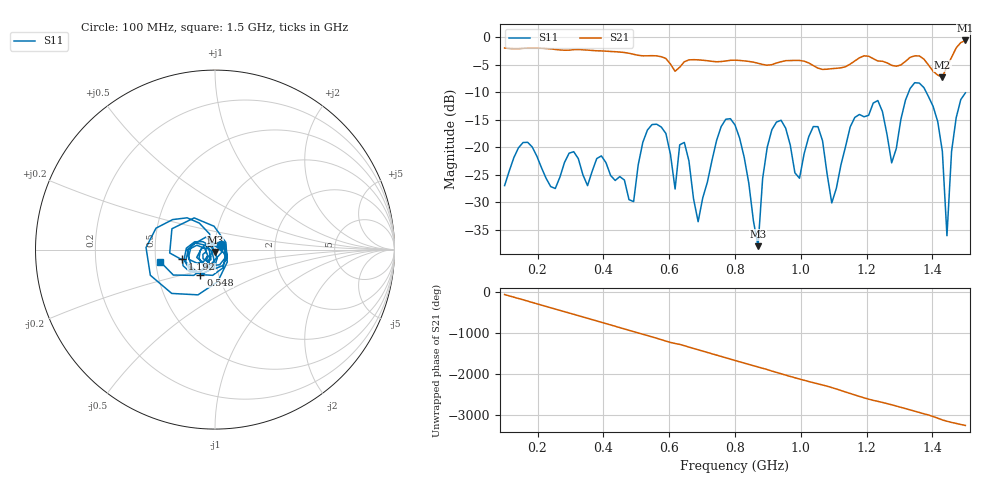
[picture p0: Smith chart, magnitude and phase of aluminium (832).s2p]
! NanoVNA-App
! Date: 2025-09-25 15:01:45
! Start: 100MHz Stop: 1,5GHz Points: 101
! S-Parameter data: F S11 S21 S12 S22
# Hz S RI R 50
!  Frequency  S11_Real  S11_Imag  S21_Real  S21_Imag  S12_Real  S12_Imag  S22_Real  S22_Imag
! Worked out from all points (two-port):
!   101 points, 100 MHz to 1.5 GHz, reference 50 ohm
!   highest |S21| = -0.54 dB at 1.5 GHz (marker M1); lowest = -7.3 dB at 1.43 GHz (marker M2)
!   |S21| within 3 dB of the highest: start of sweep to 577.6 MHz; 1.459 GHz to end of sweep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
!   lowest |S11| = -38.0 dB at 870 MHz (marker M3), VSWR 1.03, Z = 50 - j1.26 ohm
!   |S11| at or under -10 dB: start of sweep to 1.327 GHz; 1.381 GHz to end of sweep
!   S12 and S22 are empty: the file has one direction only
!   S11 on the Smith chart (normalised r, x): 100 MHz: 1.07, +0.06; 548 MHz: 0.82, -0.23; 1.192 GHz: 0.69, -0.08; 1.5 GHz: 0.53, -0.08
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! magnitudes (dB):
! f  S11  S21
! 100 MHz  -27.0  -1.9
! 156 MHz  -19.1  -2.0
! 338 MHz  -25.0  -2.2
! 492 MHz  -29.9  -3.1
! 548 MHz  -15.9  -3.3
! 576 MHz  -16.3  -3.5
! 618 MHz  -27.6  -6.1
! 646 MHz  -19.1  -4.4
! 688 MHz  -33.5  -4.1
! 800 MHz  -15.9  -4.1
! 870 MHz  -38.0  -4.7
! 912 MHz  -16.8  -4.9
! 996 MHz  -25.6  -4.2
! 1.038 GHz  -16.2  -5.1
! 1.094 GHz  -30.1  -5.7
! 1.192 GHz  -14.4  -3.3
! 1.276 GHz  -22.8  -5.1
! 1.346 GHz  -8.2  -3.3
! 1.43 GHz  -20.7  -7.3
! 1.444 GHz  -36.1  -5.3
! 1.458 GHz  -20.7  -3.6
! 1.5 GHz  -10.1  -0.5
